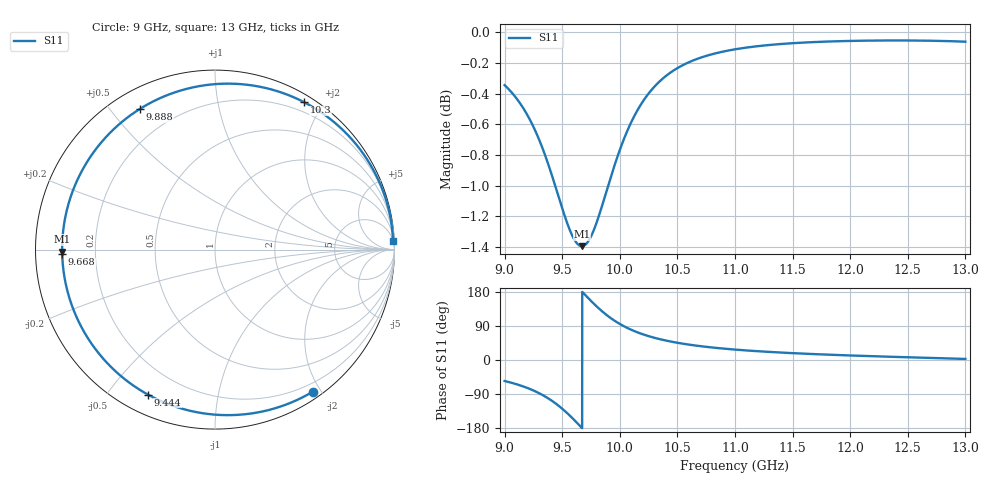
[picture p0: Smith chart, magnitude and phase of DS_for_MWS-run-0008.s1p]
! TOUCHSTONE file generated by CST DESIGN STUDIO
! Date and time: Tue Feb  4 17:16:03 2025
! Project name: C:\Work\MatlabApps\UnitCellOptimizationMatlab\CST\unitcell.cst
! Tree item: Tasks\Sweep1\SPara1\S-Parameters
! Header version: 2024
! Port assignment regex: !\s*Touchstone port\s*([0-9]+)\s*=\s*(CST MWS port|CST DES external port|CST DES block port)\s*(.+)\s* \(\"(.*)\"\)(\s*mode\s*([0-9]+))?.*
! Touchstone port assignment:
! Touchstone port 1 = CST DES external port 1 ("")
# GHz S MA R 50
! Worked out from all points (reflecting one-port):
!   4001 points, 9 GHz to 13 GHz, reference 50 ohm
!   lowest |S11| = -1.4 dB at 9.671 GHz (marker M1), VSWR 12.49, Z = 4 - j0.318 ohm
!   phase of S11 starts at -55 deg and turns -302 deg over the sweep
!   S11 on the Smith chart (normalised r, x): 9 GHz: 0.09, -1.90; 9.444 GHz: 0.08, -0.64; 9.668 GHz: 0.08, -0.01; 9.888 GHz: 0.08, +0.60; 10.3 GHz: 0.09, +1.77; 13 GHz: 6, +40
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9  0.961 -55.4
9.114  0.9503 -64.9
9.227  0.9353 -77.4
9.348  0.9126 -95.6
9.398  0.9012 -105.0
9.444  0.8901 -114.9
9.5  0.8763 -128.5
9.545  0.8662 -140.7
9.592  0.8578 -154.5
9.631  0.8534 -166.6
9.668  0.8518 -178.3
9.671  0.8518 -179.3
9.716  0.8539 166.4
9.764  0.8603 151.6
9.827  0.8734 133.6
9.888  0.8885 118.1
9.942  0.902 106.2
10  0.9155 95.1
10.065  0.9286 84.6
10.143  0.9416 74.2
10.299  0.9598 58.7
10.5  0.9733 45.4
10.719  0.9815 35.8
11  0.9871 27.5
11.5  0.9917 18.1
12  0.9934 11.9
12.5  0.9937 7.2
13  0.9928 2.8
